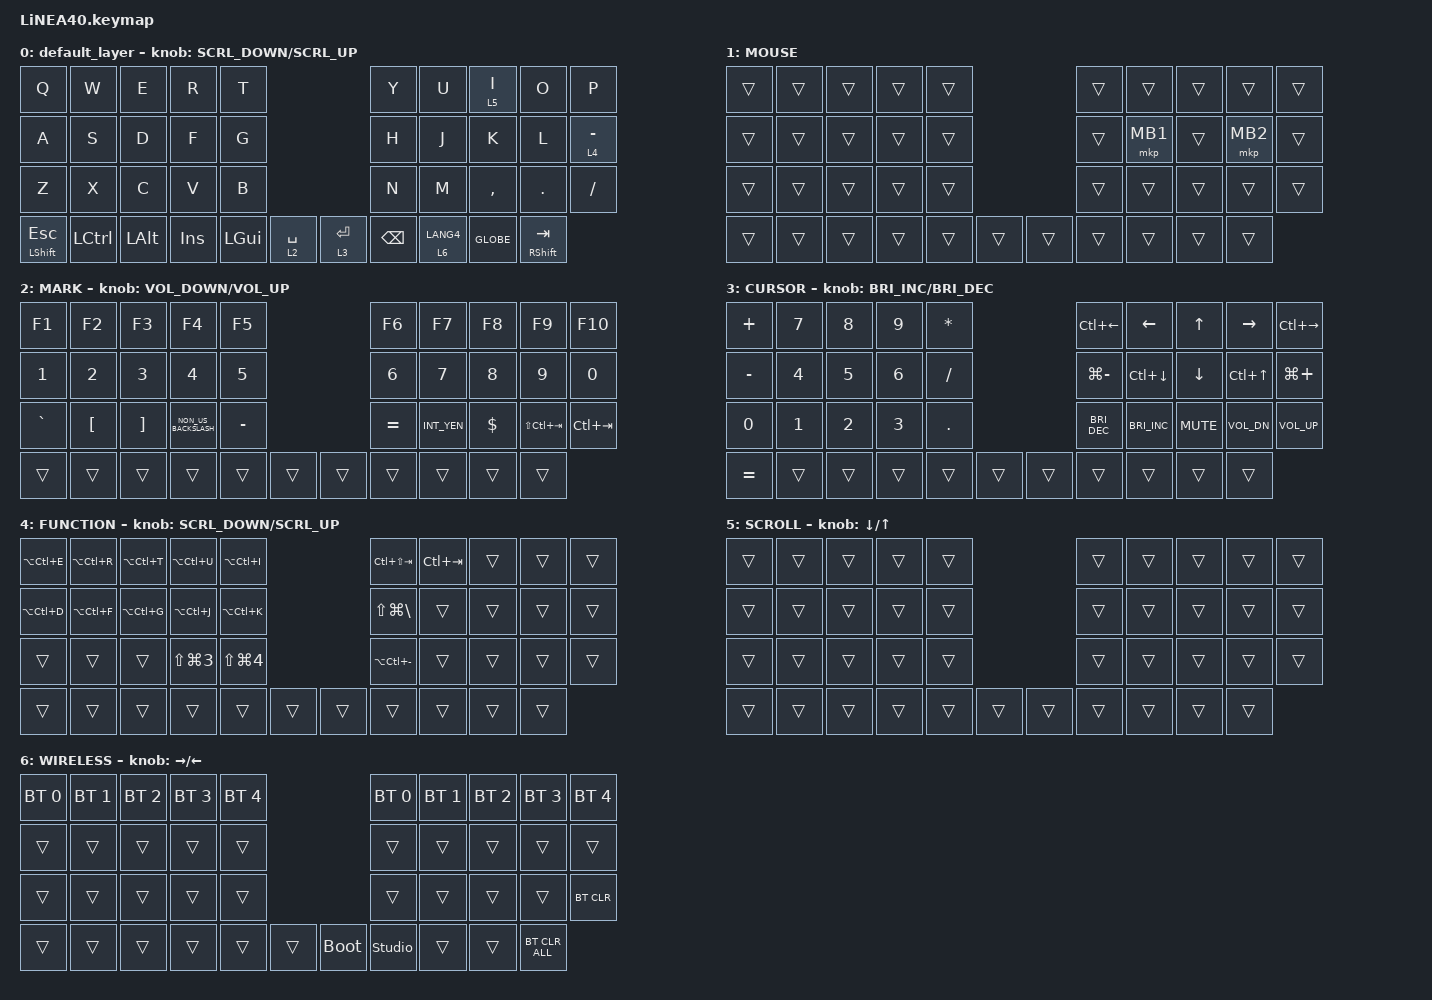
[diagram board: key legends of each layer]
#define ZMK_POINTING_DEFAULT_SCRL_VAL 150

#include <dt-bindings/zmk/input_transform.h>
#include <input/processors.dtsi>
#include <zephyr/dt-bindings/input/input-event-codes.h>
#include <behaviors.dtsi>
#include <dt-bindings/zmk/bt.h>
#include <dt-bindings/zmk/keys.h>
#include <dt-bindings/zmk/pointing.h>

#define MOUSE 1
#define MARK 2
#define CURSOR 3
#define FUNCTION 4
#define SCROLL 5
#define WIRELESS 6

//mouse cursol

&mmv {
    delay-ms = <20>;
    trigger-period-ms = <5>;
    time-to-max-speed-ms = <100>;
    acceleration-exponent = <2>;
};

//mouse scroll

&msc {
    delay-ms = <3>;
    trigger-period-ms = <3>;
    time-to-max-speed-ms = <100>;
    acceleration-exponent = <0>;
};

/ {
    input_processors {
        zip_wheel_scaler: zip_wheel_scaler {
            compatible = "zmk,input-processor-scaler";
            #input-processor-cells = <2>;
            type = <INPUT_EV_REL>;
            codes = <INPUT_REL_WHEEL>;
            track-remainders;
        };
    };
};

&msc_input_listener {
    speed_up {
        layers = <FUNCTION>;
        input-processors = <&zip_wheel_scaler 1 4>; //スクロールを3倍速にする
    };
};

&trackball_listener {
    scroller {
        layers = <SCROLL>;
        input-processors =
            <&zip_xy_transform INPUT_TRANSFORM_Y_INVERT>,
            //スクロール方向を逆転,,,,,,,,,,,,,,
            <&zip_xy_to_scroll_mapper>,
            <&zip_wheel_scaler 1 4>;

        //スクロールを1/5倍速にする
    };
};

/ {
    combos {
        compatible = "zmk,combos";

        Escape {
            bindings = <&kp ESC>;
            key-positions = <0 1>;
        };

        Tab {
            bindings = <&kp TAB>;
            key-positions = <1 2>;
        };

        Fwd {
            bindings = <&kp LG(RIGHT)>;
            key-positions = <6 5>;
        };

        Back {
            bindings = <&kp LG(LEFT_ARROW)>;
            key-positions = <6 7>;
        };

        RightClick {
            bindings = <&mkp MB2>;
            key-positions = <18 17>;
        };

        PrevClick {
            bindings = <&mkp MB4>;
            key-positions = <27 28>;
        };

        ClickNext {
            bindings = <&mkp MB5>;
            key-positions = <26 27>;
        };

        Increase {
            bindings = <&kp LG(PLUS)>;
            key-positions = <8 9>;
        };

        Decrease {
            bindings = <&kp LG(MINUS)>;
            key-positions = <7 8>;
        };
    };

    behaviors {
        re_kp: sensor_rotate_kp {
            compatible = "zmk,behavior-sensor-rotate-var";
            #sensor-binding-cells = <2>;
            bindings = <&kp>, <&kp>;
        };

        mouse_scrl: mouse_wheel_scrl {
            compatible = "zmk,behavior-sensor-rotate-var";
            #sensor-binding-cells = <2>;
            bindings = <&msc>, <&msc>;

            tap-ms = <20>;
        };
    };

    keymap {
        compatible = "zmk,keymap";

        default_layer {
            bindings = <
&kp Q               &kp W             &kp E         &kp R    &kp T                                   &kp Y          &kp U  &lt 5 I      &kp O      &kp P
&kp A               &kp S             &kp D         &kp F    &kp G                                   &kp H          &kp J  &kp K        &kp L      &lt 4 MINUS
&kp Z               &kp X             &kp C         &kp V    &kp B                                   &kp N          &kp M  &kp COMMA    &kp DOT    &kp SLASH
&mt LEFT_SHIFT ESC  &kp LEFT_CONTROL  &kp LEFT_ALT  &kp INS  &kp LEFT_GUI  &lt 2 SPACE    &lt 3 RET  &kp BACKSPACE         &lt 6 LANG4  &kp GLOBE  &mt RIGHT_SHIFT TAB
            >;

            sensor-bindings = <&mouse_scrl SCRL_DOWN SCRL_UP>;
        };

        //1

        MOUSE {
            bindings = <
&trans  &trans  &trans  &trans  &trans                    &trans  &trans    &trans  &trans    &trans
&trans  &trans  &trans  &trans  &trans                    &trans  &mkp MB1  &trans  &mkp MB2  &trans
&trans  &trans  &trans  &trans  &trans                    &trans  &trans    &trans  &trans    &trans
&trans  &trans  &trans  &trans  &trans  &trans    &trans  &trans            &trans  &trans    &trans
            >;
        };

        //2

        MARK {
            bindings = <
&kp F1        &kp F2            &kp F3             &kp F4                &kp F5                          &kp F6        &kp F7        &kp F8        &kp F9           &kp F10
&kp NUMBER_1  &kp NUMBER_2      &kp NUMBER_3       &kp NUMBER_4          &kp NUMBER_5                    &kp NUMBER_6  &kp NUMBER_7  &kp NUMBER_8  &kp NUMBER_9     &kp NUMBER_0
&kp GRAVE     &kp LEFT_BRACKET  &kp RIGHT_BRACKET  &kp NON_US_BACKSLASH  &kp MINUS                       &kp EQUAL     &kp INT_YEN   &kp DOLLAR    &kp LS(LC(TAB))  &kp LC(TAB)
&trans        &trans            &trans             &trans                &trans        &trans    &trans  &trans                      &trans        &trans           &trans
            >;

            sensor-bindings = <&re_kp C_VOLUME_DOWN C_VOLUME_UP>;
        };

        //3

        CURSOR {
            bindings = <
&kp PLUS      &kp NUMBER_7  &kp NUMBER_8  &kp NUMBER_9  &kp ASTRK                    &kp LC(LEFT_ARROW)    &kp LEFT_ARROW        &kp UP_ARROW    &kp RIGHT_ARROW   &kp LC(RIGHT_ARROW)
&kp MINUS     &kp NUMBER_4  &kp NUMBER_5  &kp NUMBER_6  &kp SLASH                    &kp LG(MINUS)         &kp LC(DOWN_ARROW)    &kp DOWN_ARROW  &kp LC(UP_ARROW)  &kp LG(PLUS)
&kp NUMBER_0  &kp NUMBER_1  &kp NUMBER_2  &kp NUMBER_3  &kp DOT                      &kp C_BRIGHTNESS_DEC  &kp C_BRIGHTNESS_INC  &kp K_MUTE      &kp C_VOL_DN      &kp C_VOLUME_UP
&kp EQUAL     &trans        &trans        &trans        &trans     &trans    &trans  &trans                                      &trans          &trans            &trans
            >;

            sensor-bindings = <&inc_dec_kp C_BRIGHTNESS_INC C_BRIGHTNESS_DEC>;
        };

        //4

        FUNCTION {
            bindings = <
&kp LA(LC(E))  &kp LA(LC(R))  &kp LA(LC(T))  &kp LA(LC(U))         &kp LA(LC(I))                           &kp LC(LS(TAB))        &kp LC(TAB)  &trans  &trans  &trans
&kp LA(LC(D))  &kp LA(LC(F))  &kp LA(LC(G))  &kp LA(LC(J))         &kp LA(LC(K))                           &kp LS(LG(BACKSLASH))  &trans       &trans  &trans  &trans
&trans         &trans         &trans         &kp LS(LG(NUMBER_3))  &kp LS(LG(NUMBER_4))                    &kp LA(LC(MINUS))      &trans       &trans  &trans  &trans
&trans         &trans         &trans         &trans                &trans                &trans    &trans  &trans                              &trans  &trans  &trans
            >;

            sensor-bindings = <&mouse_scrl SCRL_DOWN SCRL_UP>;
        };

        //5

        SCROLL {
            bindings = <
&trans  &trans  &trans  &trans  &trans                    &trans  &trans  &trans  &trans  &trans
&trans  &trans  &trans  &trans  &trans                    &trans  &trans  &trans  &trans  &trans
&trans  &trans  &trans  &trans  &trans                    &trans  &trans  &trans  &trans  &trans
&trans  &trans  &trans  &trans  &trans  &trans    &trans  &trans          &trans  &trans  &trans
            >;

            sensor-bindings = <&inc_dec_kp DOWN_ARROW UP_ARROW>;
        };

        //6

        WIRELESS {
            bindings = <
&bt BT_SEL 0  &bt BT_SEL 1  &bt BT_SEL 2  &bt BT_SEL 3  &bt BT_SEL 4                         &bt BT_SEL 0    &bt BT_SEL 1  &bt BT_SEL 2  &bt BT_SEL 3  &bt BT_SEL 4
&trans        &trans        &trans        &trans        &trans                               &trans          &trans        &trans        &trans        &trans
&trans        &trans        &trans        &trans        &trans                               &trans          &trans        &trans        &trans        &bt BT_CLR
&trans        &trans        &trans        &trans        &trans        &trans    &bootloader  &studio_unlock                &trans        &trans        &bt BT_CLR_ALL
            >;

            sensor-bindings = <&inc_dec_kp RIGHT_ARROW LEFT_ARROW>;
        };
    };
};
